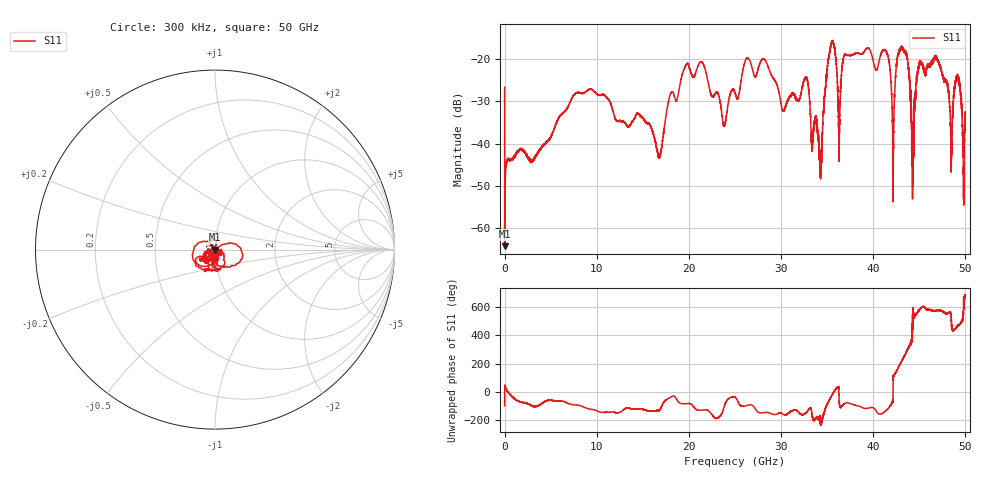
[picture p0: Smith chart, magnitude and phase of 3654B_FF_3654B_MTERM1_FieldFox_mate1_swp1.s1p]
!Created with skrf (http://scikit-rf.org).
# Hz S RI R 50.0
!freq ReS11 ImS11
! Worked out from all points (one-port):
!   10001 points, 300 kHz to 50 GHz, reference 50 ohm
!   lowest |S11| = -64.2 dB at 5.3 MHz (marker M1), VSWR 1.00, Z = 50 - j0.0433 ohm
!   |S11| at or under -10 dB: start of sweep to end of sweep
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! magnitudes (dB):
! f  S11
! 300 kHz  -26.7
! 5.3 MHz  -64.2
! 255.3 MHz  -44.1
! 2.97 GHz  -43.8
! 6.25 GHz  -32.9
! 12.5 GHz  -34.7
! 16.79 GHz  -43.1
! 18.75 GHz  -29.4
! 21.32 GHz  -20.7
! 23.81 GHz  -35.9
! 25 GHz  -28.0
! 26.37 GHz  -19.9
! 31.25 GHz  -28.0
! 32.74 GHz  -24.6
! 34.25 GHz  -48.0
! 35.42 GHz  -16.7
! 36.3 GHz  -43.5
! 37.5 GHz  -19.3
! 41.35 GHz  -18.2
! 42.15 GHz  -48.1
! 42.81 GHz  -18.4
! 43.75 GHz  -21.1
! 44.28 GHz  -42.6
! 45 GHz  -21.4
! 46.78 GHz  -19.6
! 48.46 GHz  -42.8
! 49.2 GHz  -24.1
! 50 GHz  -32.6
